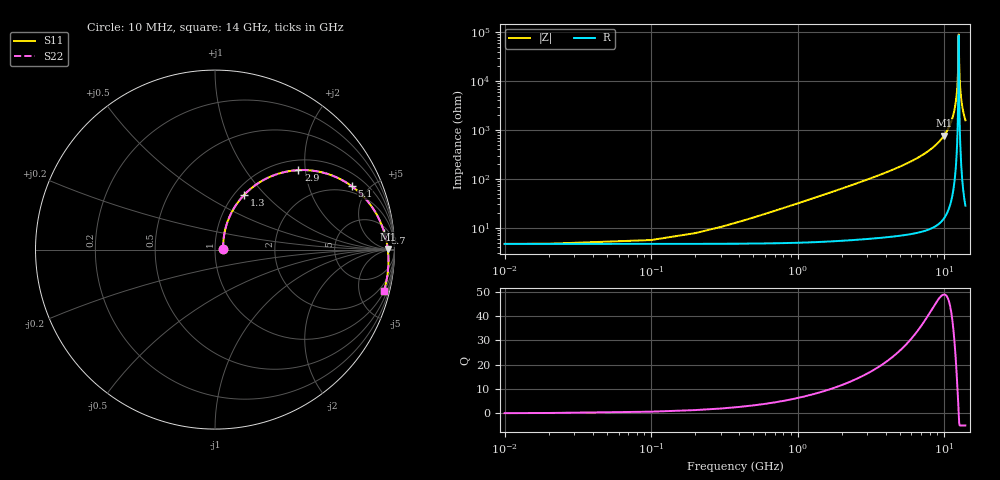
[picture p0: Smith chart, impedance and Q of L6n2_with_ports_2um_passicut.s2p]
#  GHZ S DB R 50.0
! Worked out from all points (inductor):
!   142 points, 10 MHz to 14 GHz, reference 50 ohm
!   read as one part in series: L = 4.93 nH near 500 MHz
!   highest Q = 48.9 at 10 GHz (marker M1), where L = 12.1 nH
!   self-resonance near 12.6 GHz
!   S11 on the Smith chart (normalised r, x): 10 MHz: 1.09, +0.01; 1.3 GHz: 1.11, +0.77; 2.9 GHz: 1.22, +1.84; 5.1 GHz: 1.62, +3.90; 8.7 GHz: 9, +16; 14 GHz: 1.08, -8.17
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0.01  -26.97 3.3  -0.40 -0.2  -0.40 -0.2  -26.97 3.3
0.6  -15.40 65.8  -0.58 -10.7  -0.58 -10.7  -15.40 65.8
1.3  -9.18 61.9  -1.09 -22.1  -1.09 -22.1  -9.18 61.9
2.4  -4.92 49.0  -2.36 -37.5  -2.36 -37.5  -4.92 49.0
2.9  -3.85 43.6  -3.06 -43.4  -3.06 -43.4  -3.85 43.6
4.7  -1.77 27.7  -5.91 -60.3  -5.91 -60.3  -1.77 27.7
5.1  -1.51 24.9  -6.59 -63.3  -6.59 -63.3  -1.51 24.9
7.1  -0.74 13.0  -10.32 -75.6  -10.32 -75.6  -0.74 13.0
8.7  -0.46 5.5  -13.97 -83.2  -13.97 -83.2  -0.46 5.5
9.4  -0.38 2.6  -15.94 -86.2  -15.94 -86.2  -0.38 2.6
10  -0.33 0.3  -17.93 -88.6  -17.93 -88.6  -0.33 0.2
11  -0.28 -3.5  -22.43 -92.2  -22.43 -92.2  -0.28 -3.5
11.7  -0.26 -6.0  -27.58 -94.1  -27.58 -94.1  -0.26 -6.0
12.1  -0.25 -7.4  -32.72 -94.4  -32.72 -94.4  -0.26 -7.4
12.4  -0.25 -8.4  -40.53 -91.7  -40.53 -91.7  -0.25 -8.4
12.5  -0.25 -8.8  -46.14 -86.3  -46.14 -86.3  -0.25 -8.8
12.6  -0.25 -9.1  -59.31 -25.6  -59.31 -25.6  -0.25 -9.1
12.7  -0.25 -9.4  -47.33 67.0  -47.33 67.0  -0.25 -9.4
12.8  -0.25 -9.8  -41.21 73.7  -41.21 73.7  -0.26 -9.8
13  -0.25 -10.4  -35.12 76.5  -35.12 76.5  -0.26 -10.4
13.4  -0.26 -11.8  -29.11 76.8  -29.11 76.8  -0.26 -11.8
14  -0.27 -13.7  -24.33 75.4  -24.33 75.4  -0.28 -13.7
